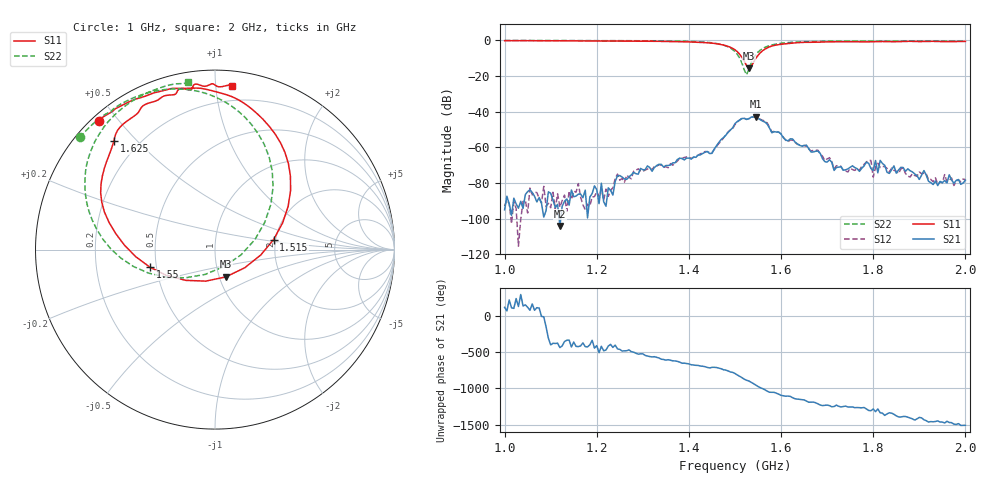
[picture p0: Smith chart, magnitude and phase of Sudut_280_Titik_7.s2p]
# Hz S RI R 50
! CMT, C1220, 16058040, 17.2.0/1
! Date: 14/08/2018 12:16:18
! Data: Format (Calibration Info)
! Freq  S11: Re/Im (F2)  S21: Re/Im (F2)  S12: Re/Im (F2)  S22: Re/Im (F2)
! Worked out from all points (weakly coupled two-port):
!   201 points, 1 GHz to 2 GHz, reference 50 ohm
!   highest |S21| = -42.80 dB at 1.545 GHz (marker M1); lowest = -104.1 dB at 1.12 GHz (marker M2)
!   lowest |S11| = -15.7 dB at 1.53 GHz (marker M3), VSWR 1.39, Z = 53.9 - j16.8 ohm
!   |S11| at or under -10 dB: 1.516 GHz to 1.546 GHz (29.99 MHz wide, 1.96 % of centre)
!   |S22| runs from -19.4 to -0.2 dB; largest |S21 - S12| = 0.00036
!   S11 on the Smith chart (normalised r, x): 1 GHz: 0.02, +0.44; 1.515 GHz: 1.95, +0.24; 1.55 GHz: 0.46, -0.10; 1.625 GHz: 0.11, +0.43; 2 GHz: 0.09, +1.11
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1e9  -0.648 0.7145  -8.48e-06 1.56e-05  -9.59e-06 2.06e-05  -0.7535 0.6249
1.12e9  -0.5325 0.7962  1.45e-06 -6.09e-06  2.1e-05 2.69e-06  -0.6639 0.7138
1.17e9  -0.4797 0.8228  3.79e-05 -7.88e-06  -2.09e-05 -1.24e-05  -0.6167 0.7505
1.245e9  -0.3667 0.8632  -1.5e-05 -0.000158  3.27e-05 -0.000173  -0.5427 0.7997
1.26e9  -0.3465 0.8712  -6.87e-05 -0.00011  -5.01e-05 -9.29e-05  -0.5226 0.8123
1.335e9  -0.2218 0.898  -0.000254 0.000215  -0.000213 0.000242  -0.4005 0.8655
1.45e9  0.1793 0.8032  0.000662 0.000134  0.000699 0.000119  0.0247 0.8393
1.5e9  0.4211 0.3296  0.00129 -0.00441  0.00122 -0.00417  0.3235 0.3483
1.515e9  0.3262 0.0557  -0.00416 -0.00483  -0.00407 -0.00502  0.2223 0.0556
1.53e9  0.062 -0.1517  -0.00627 -0.000341  -0.0063 -0.000341  -0.0562 -0.1386
1.545e9  -0.2686 -0.144  -0.00436 0.00579  -0.0044 0.00561  -0.3694 -0.1312
1.55e9  -0.3627 -0.0979  -0.00191 0.00619  -0.0022 0.00614  -0.4541 -0.0942
1.625e9  -0.5637 0.605  0.00115 -0.00126  0.00112 -0.00113  -0.7023 0.5193
1.67e9  -0.4458 0.7472  -0.000228 -0.000702  -0.000233 -0.000784  -0.6262 0.6719
1.715e9  -0.3641 0.818  -0.00022 -4.36e-05  -0.000239 -4.01e-05  -0.5514 0.7578
1.795e9  -0.212 0.8777  -0.000174 0.000184  -0.000215 0.000368  -0.4311 0.8451
1.8e9  -0.2085 0.8851  -0.000208 8.71e-05  -8.44e-05 0.000119  -0.4242 0.8492
1.805e9  -0.2033 0.8912  -0.000213 0.000368  -9.55e-05 0.00026  -0.4171 0.8535
1.81e9  -0.1961 0.8956  -0.000178 7.17e-05  2.16e-05 0.000356  -0.4102 0.8574
1.815e9  -0.1876 0.8973  -0.000113 0.000414  -0.000103 0.000252  -0.4033 0.8609
1.835e9  -0.1444 0.89  -4.76e-05 0.000179  -5.93e-05 0.000194  -0.3764 0.874
2e9  0.0955 0.9139  4.57e-05 -0.000111  5.86e-05 -0.000109  -0.1527 0.9331
